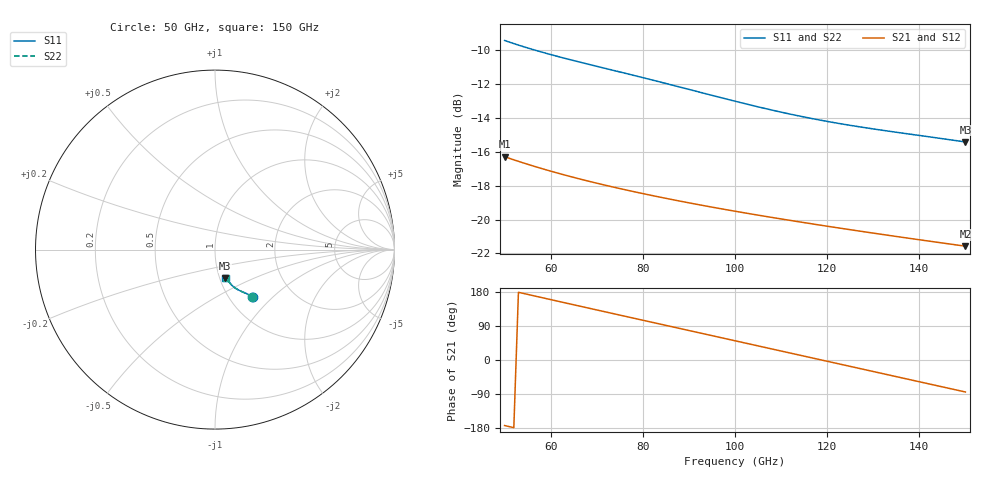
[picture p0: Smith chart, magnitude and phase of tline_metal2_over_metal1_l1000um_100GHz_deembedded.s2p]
! Created with skrf 2.2.0 (http://scikit-rf.org).
# GHz S DB R 50.0
! Port[1] = P1
! Port[2] = P2
!freq dBS11 angS11 dBS21 angS21 dBS12 angS12 dBS22 angS22
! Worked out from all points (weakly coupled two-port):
!   101 points, 50 GHz to 150 GHz, reference 50 ohm
!   highest |S21| = -16.29 dB at 50 GHz (marker M1); lowest = -21.6 dB at 150 GHz (marker M2)
!   lowest |S11| = -15.4 dB at 150 GHz (marker M3), VSWR 1.41, Z = 53.1 - j17.4 ohm
!   |S11| at or under -10 dB: 56.53 GHz to end of sweep
!   |S22| runs from -15.4 to -9.5 dB; largest |S21 - S12| = 1.1e-13
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50  -9.43 -51.4  -16.29 -173.0  -16.29 -173.0  -9.46 -51.7
54  -9.79 -52.4  -16.65 175.9  -16.65 175.9  -9.82 -52.7
58  -10.12 -53.4  -16.99 164.9  -16.99 164.9  -10.15 -53.7
63  -10.48 -54.6  -17.37 151.2  -17.37 151.2  -10.52 -55.0
67  -10.76 -55.7  -17.66 140.3  -17.66 140.3  -10.80 -56.1
72  -11.09 -57.2  -17.99 126.6  -17.99 126.6  -11.14 -57.5
76  -11.36 -58.4  -18.23 115.8  -18.23 115.8  -11.41 -58.7
80  -11.63 -59.5  -18.47 104.9  -18.47 104.9  -11.68 -59.8
84  -11.90 -60.7  -18.70 94.1  -18.70 94.1  -11.96 -60.9
88  -12.18 -61.7  -18.91 83.2  -18.91 83.2  -12.24 -62.0
92  -12.46 -62.7  -19.12 72.4  -19.12 72.4  -12.53 -62.9
100  -13.02 -64.3  -19.51 50.8  -19.51 50.8  -13.09 -64.5
105  -13.35 -65.1  -19.74 37.2  -19.74 37.2  -13.42 -65.2
109  -13.60 -65.6  -19.92 26.4  -19.92 26.4  -13.67 -65.7
113  -13.84 -66.1  -20.10 15.6  -20.10 15.6  -13.91 -66.1
117  -14.06 -66.4  -20.27 4.8  -20.27 4.8  -14.13 -66.4
121  -14.26 -66.8  -20.44 -6.0  -20.44 -6.0  -14.33 -66.7
125  -14.44 -67.1  -20.60 -16.9  -20.60 -16.9  -14.51 -67.0
129  -14.61 -67.5  -20.76 -27.7  -20.76 -27.7  -14.67 -67.3
134  -14.81 -68.1  -20.96 -41.2  -20.96 -41.2  -14.87 -67.8
142  -15.12 -69.1  -21.27 -62.8  -21.27 -62.8  -15.15 -68.6
150  -15.42 -70.2  -21.57 -84.4  -21.57 -84.4  -15.44 -69.6
